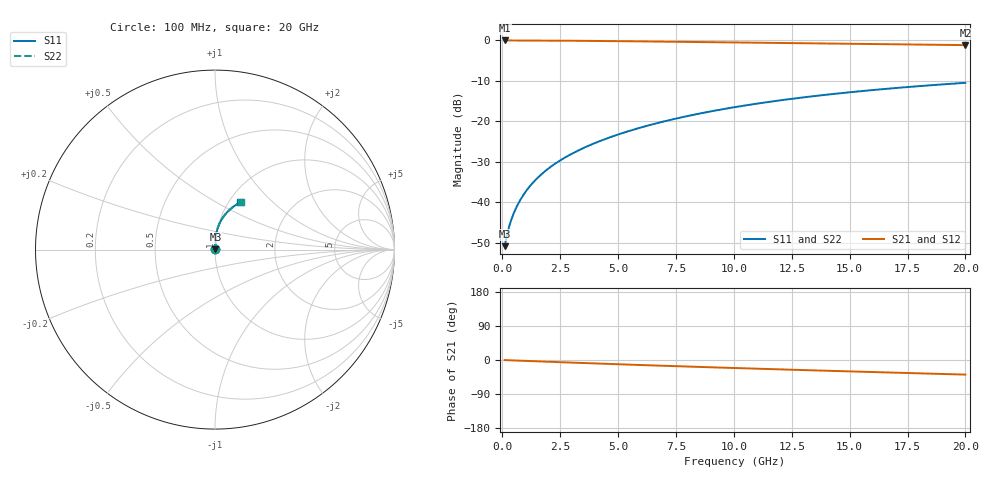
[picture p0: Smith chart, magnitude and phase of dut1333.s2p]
! Touchstone file exported from HFSS 2024.1.0
!  File:  C:/UserFiles/LocalFiles/RDL_TSV_Batchsim/temp_RDL_bottom_1333_1780369478.aedt
!  Generated:  11:07:06 AM Jun  2, 2026
!  Design:  RDL_bottom
!  Project:  temp_RDL_bottom_1333_1780369478
!  Setup:  Setup1
!  Solution:  Sweep
! Variables:
!  dtsv = 10.80580581um
!  hbump = 3um
!  htsv = 83.3um
!  ldown = 589.01um
!  lrdl = 100um
!  p = 40
!  p1 = 44.52um
!  rhole = 1um
!  t = 450um
!  tdown = 3.91um
!  trdl = 3.915915916um
!  wdown = 24.15um
!  wrdl = 20um
# GHz S MA R 50.000000
! Terminal data exported
! Port[1] = RDL1_T1
! Port[2] = RDL1_T2
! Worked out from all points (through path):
!   200 points, 100 MHz to 20 GHz, reference 50 ohm
!   highest |S21| = -0.02 dB at 100 MHz (marker M1); lowest = -1.2 dB at 20 GHz (marker M2)
!   group delay of S21, straight-line fit = 5.29 ps
!   lowest |S11| = -50.9 dB at 100 MHz (marker M3), VSWR 1.01, Z = 50.2 + j0.153 ohm
!   |S11| at or under -10 dB: start of sweep to end of sweep
!   |S22| runs from -50.9 to -10.5 dB; largest |S21 - S12| = 4.4e-15
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0.1  0.002867 32.1  0.9976 -0.2  0.9976 -0.2  0.002867 32.1
! Gamma 0 0 0 0
! Port Impedance 50 0 50 0
0.2  0.00392 48.5  0.9974 -0.5  0.9974 -0.5  0.00392 48.5
0.3  0.005064 57.1  0.9972 -0.7  0.9972 -0.7  0.005064 57.1
0.4  0.006215 62.5  0.997 -1.0  0.997 -1.0  0.006216 62.5
0.5  0.007376 66.5  0.9968 -1.2  0.9968 -1.2  0.007377 66.5
0.6  0.008552 69.5  0.9966 -1.4  0.9966 -1.4  0.008552 69.5
0.8  0.01095 73.9  0.9963 -1.9  0.9963 -1.9  0.01095 73.9
1  0.01341 76.8  0.996 -2.3  0.996 -2.3  0.01341 76.8
1.2  0.0159 78.9  0.9956 -2.8  0.9956 -2.8  0.0159 78.9
1.7  0.02229 82.2  0.9943 -3.9  0.9943 -3.9  0.02229 82.2
2.2  0.02885 84.0  0.9926 -5.1  0.9926 -5.1  0.02885 84.0
2.8  0.03695 85.3  0.9902 -6.4  0.9902 -6.4  0.03694 85.3
3.5  0.0467 86.1  0.9868 -8.0  0.9868 -8.0  0.04669 86.1
4.2  0.05678 86.4  0.983 -9.5  0.983 -9.5  0.05676 86.3
5  0.0687 86.3  0.9781 -11.2  0.9781 -11.2  0.06867 86.2
6.8  0.09679 84.8  0.966 -14.9  0.966 -14.9  0.09673 84.8
8.4  0.1227 82.7  0.9546 -18.1  0.9546 -18.1  0.1226 82.6
10.1  0.1506 79.9  0.9425 -21.3  0.9425 -21.3  0.1505 79.9
11.7  0.1767 77.0  0.9311 -24.3  0.9311 -24.3  0.1766 77.0
13.4  0.2038 73.9  0.9191 -27.3  0.9191 -27.3  0.2037 73.8
16.7  0.2537 67.7  0.8963 -33.0  0.8963 -33.0  0.2534 67.6
20  0.299 61.7  0.8739 -38.5  0.8739 -38.5  0.2987 61.6
